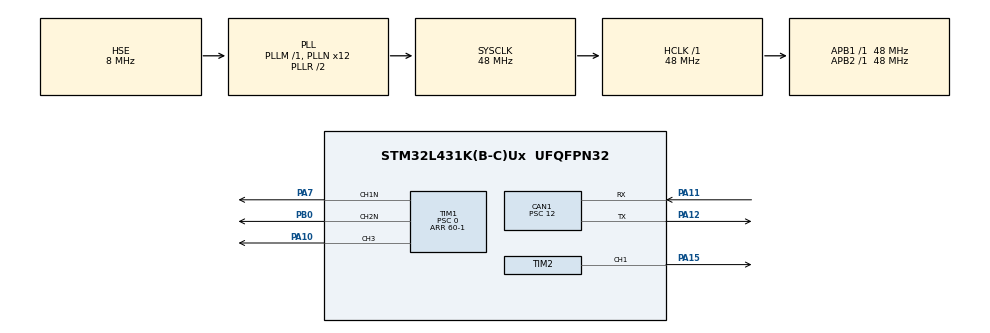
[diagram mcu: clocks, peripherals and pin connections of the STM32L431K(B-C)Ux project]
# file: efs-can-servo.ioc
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CAN1.BS1=CAN_BS1_2TQ
CAN1.CalculateBaudRate=1000000
CAN1.CalculateTimeBit=1000
CAN1.CalculateTimeQuantum=250.0
CAN1.Prescaler=12
Dma.Request0=TIM1_CH2
Dma.TIM1_CH2.0.Direction=DMA_MEMORY_TO_PERIPH
Dma.TIM1_CH2.0.Instance=DMA1_Channel3
Dma.TIM1_CH2.0.MemDataAlignment=DMA_MDATAALIGN_BYTE
Dma.TIM1_CH2.0.MemInc=DMA_MINC_ENABLE
Dma.TIM1_CH2.0.Mode=DMA_CIRCULAR
Dma.TIM1_CH2.0.PeriphDataAlignment=DMA_PDATAALIGN_WORD
Dma.TIM1_CH2.0.PeriphInc=DMA_PINC_DISABLE
Dma.TIM1_CH2.0.Priority=DMA_PRIORITY_HIGH
Mcu.Family=STM32L4
Mcu.Name=STM32L431K(B-C)Ux
Mcu.Package=UFQFPN32
NVIC.CAN1_RX0_IRQn=true\:0\:0\:false\:false\:true\:true\:true\:true
NVIC.DMA1_Channel3_IRQn=true\:0\:0\:false\:false\:true\:false\:true\:true
NVIC.PriorityGroup=NVIC_PRIORITYGROUP_4
PA0.Mode=HSE-External-Clock-Source-for-LittleOrca
PA0.Signal=RCC_CK_IN
PA10.Signal=S_TIM1_CH3
PA11.GPIO_PuPd=GPIO_PULLUP
PA11.Mode=CAN_Activate
PA11.Signal=CAN1_RX
PA12.Mode=CAN_Activate
PA12.Signal=CAN1_TX
PA13\ (JTMS-SWDIO).Mode=Trace_Asynchronous_SW
PA13\ (JTMS-SWDIO).Signal=SYS_JTMS-SWDIO
PA14\ (JTCK-SWCLK).Mode=Trace_Asynchronous_SW
PA14\ (JTCK-SWCLK).Signal=SYS_JTCK-SWCLK
PA15\ (JTDI).Signal=S_TIM2_CH1
PA7.Mode=PWM Generation1 CH1N
PA7.Signal=TIM1_CH1N
PB0.Mode=PWM Generation2 CH2N
PB0.Signal=TIM1_CH2N
PB3\ (JTDO-TRACESWO).Mode=Trace_Asynchronous_SW
PB3\ (JTDO-TRACESWO).Signal=SYS_JTDO-SWO
ProjectManager.HeapSize=0x200
ProjectManager.StackSize=0x400
ProjectManager.TargetToolchain=STM32CubeIDE
RCC.ADCFreq_Value=32000000
RCC.AHBFreq_Value=48000000
RCC.APB1Freq_Value=48000000
RCC.APB1TimFreq_Value=48000000
RCC.APB2Freq_Value=48000000
RCC.APB2TimFreq_Value=48000000
RCC.CortexFreq_Value=48000000
RCC.HCLKFreq_Value=48000000
RCC.HSE_VALUE=8000000
RCC.HSI48_VALUE=48000000
RCC.HSI_VALUE=16000000
RCC.LSE_VALUE=32768
RCC.MSIClockRange=RCC_MSIRANGE_11
RCC.MSI_VALUE=48000000
RCC.PLLN=12
RCC.PLLSourceVirtual=RCC_PLLSOURCE_HSE
RCC.SYSCLKFreq_VALUE=48000000
RCC.SYSCLKSource=RCC_SYSCLKSOURCE_PLLCLK
RCC.VCOOutputFreq_Value=96000000
SH.S_TIM1_CH3.0=TIM1_CH3,PWM Generation3 CH3
SH.S_TIM2_CH1.0=TIM2_CH1,PWM Generation1 CH1
TIM1.Channel-PWM\ Generation1\ CH1N=TIM_CHANNEL_1
TIM1.Channel-PWM\ Generation2\ CH2N=TIM_CHANNEL_2
TIM1.Channel-PWM\ Generation3\ CH3=TIM_CHANNEL_3
TIM1.Period=60-1
TIM1.Prescaler=0
TIM2.Channel-PWM\ Generation1\ CH1=TIM_CHANNEL_1
TIM2.Period=64000
TIM2.Prescaler=14
VP_TIM1_VS_ClockSourceINT.Mode=Internal
VP_TIM2_VS_ClockSourceINT.Mode=Internal
board=custom

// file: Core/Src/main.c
/* USER CODE BEGIN Header */
/**
  ******************************************************************************
  * @file           : main.c
  * @brief          : Main program body
  ******************************************************************************
  * @attention
  *
  * Copyright (c) 2024 STMicroelectronics.
  * All rights reserved.
  *
  * This software is licensed under terms that can be found in the LICENSE file
  * in the root directory of this software component.
  * If no LICENSE file comes with this software, it is provided AS-IS.
  *
  ******************************************************************************
  */
/* USER CODE END Header */
#include "main.h"
#include "can.h"
#include "tim.h"
#include "gpio.h"
#include "servo.h"

/* USER CODE BEGIN Includes */
#include <stdio.h>
#include <string.h>
#include <canard.h>
#include <_timespec.h>
#include <time.h>
#include "../dsdlc_generated/inc/dronecan_msgs.h"
#include <canard_stm32_driver.h>
#include "node_settings.h"
#include "canardRxQueue.h"

/* USER CODE END Includes */

/* USER CODE BEGIN PD */
#define CLOCK_MONOTONIC 1  // Define CLOCK_MONOTONIC for compatibility

/* USER CODE END PD */

// main.c
static volatile uint32_t g_rx_overflow_count = 0; // to track CAN RX overflow

/* USER CODE BEGIN PV */

CAN_FilterTypeDef canfil; //CAN Bus Filter, CHECK: Can maybe remove (from Hardy previous testing)

const int PWM_TRIM = 1500; // The trim value for the PWM signal
const float PWM_SCALE_FACTOR = 500.0; // Scale factor to map PWM to range -1 to 1
static CanardInstance canard;
static uint8_t memory_pool[2048]; // increased from 1024 to 2048

/* USER CODE END PV */

void SystemClock_Config(void);

/* USER CODE BEGIN 0 */

// NOT NEEDED FOR NOW
/*static const uint8_t SERVO_IDS[NUM_SERVOS] = {5, 6, 7, 8};

static struct servo_state {
    float position; // -1 to 1
    uint64_t last_update_us;
} servos[NUM_SERVOS];*/

static struct uavcan_protocol_NodeStatus node_status;

// Custom clock_gettime function for STM32
int clock_gettime(clockid_t clk_id, struct timespec *tp) {
    if (clk_id == CLOCK_MONOTONIC) {
        uint32_t millis = HAL_GetTick();  // Get the current tick in milliseconds
        tp->tv_sec = millis / 1000;       // Convert milliseconds to seconds
        tp->tv_nsec = (millis % 1000) * 1000000;  // Convert remaining milliseconds to nanoseconds
        return 0;  // Success
    }
    return -1;  // Unsupported clock ID
}

/*
  get a 16 byte unique ID for this node, this should be based on the CPU unique ID or other unique ID
 */
void getUniqueID(uint8_t id[16]){
	uint32_t HALUniqueIDs[3];
// Make Unique ID out of the 96-bit STM32 UID and fill the rest with 0s
	memset(id, 0, 16);
	HALUniqueIDs[0] = HAL_GetUIDw0();
	HALUniqueIDs[1] = HAL_GetUIDw1();
	HALUniqueIDs[2] = HAL_GetUIDw2();
	memcpy(id, HALUniqueIDs, 12);
}

void HAL_CAN_RxFifo0MsgPendingCallback(CAN_HandleTypeDef *hcan) {
	// Receiving

	while(HAL_CAN_GetRxFifoFillLevel(hcan, CAN_RX_FIFO0) > 0){ // make sure frames are not lost if multiple frames are in FIFO
		CanardCANFrame rx_frame;
		const int16_t rx_res = canardSTM32Recieve(hcan, CAN_RX_FIFO0, &rx_frame);

		if (rx_res < 0) {
				printf("Receive error %d\n", rx_res);
			}
			else if (rx_res > 0)        // Success - process the frame
			{
				enqueueRxReturnCode enqueueRxReturnCode = enqueueRxFrame(&rx_frame);

				if(enqueueRxReturnCode == RX_ENQUEUE_OVERFLOW){
					g_rx_overflow_count++;
					printf("RX Queue is full and over flow is: %d\n",g_rx_overflow); // track overflow
				}

				switch (enqueueRxReturnCode) {
					case RX_ENQUEUE_EMPTYITEM:
						printf("Rx frame is empty");
						break;
					case RX_ENQUEUE_MALLOCFAIL:
						printf("CanardRxQueueItem memory allocation failed");
						break;
					case RX_ENQUEUE_OVERFLOW:
						printf("rxQueue is full, oldest frame has been removed");
						break;
					case RX_ENQUEUE_SUCCESS:
						break;
				}
			}

	}

}

void processCanardRxQueue() {
	struct dequeueRxReturnItem dequeueRxReturnItem = dequeueRxFrame();
	const uint64_t timestamp = HAL_GetTick() * 1000ULL;

	if (dequeueRxReturnItem.isSuccess) {
		canardHandleRxFrame(&canard, &(dequeueRxReturnItem.frame), timestamp);
	}
}

// NOTE: All canard handlers and senders are based on this reference: https://dronecan.github.io/Specification/7._List_of_standard_data_types/
// Alternatively, you can look at the corresponding generated header file in the dsdlc_generated folder

// Canard Handlers ( Many have code copied from libcanard esc_node example: https://github.com/dronecan/libcanard/blob/master/examples/ESCNode/esc_node.c )

void handle_NodeStatus(CanardInstance *ins, CanardRxTransfer *transfer) {
	struct uavcan_protocol_NodeStatus nodeStatus;

	if (uavcan_protocol_NodeStatus_decode(transfer, &nodeStatus)) {
		return;
	}

	printf("Node health: %ud Node Mode: %ud\n", nodeStatus.health, nodeStatus.mode);

	printf("Node Health ");

	switch (nodeStatus.health) {
	case UAVCAN_PROTOCOL_NODESTATUS_HEALTH_OK:
		printf("OK\n");
		break;
	case UAVCAN_PROTOCOL_NODESTATUS_HEALTH_WARNING:
		printf("WARNING\n");
		break;
	case UAVCAN_PROTOCOL_NODESTATUS_HEALTH_ERROR:
		printf("ERROR\n");
		break;
	case UAVCAN_PROTOCOL_NODESTATUS_HEALTH_CRITICAL:
		printf("CRITICAL\n");
		break;
	default:
		printf("UNKNOWN?\n");
		break;
	}

	printf("Node Mode ");

	switch(nodeStatus.mode) {
	case UAVCAN_PROTOCOL_NODESTATUS_MODE_OPERATIONAL:
		printf("OPERATIONAL\n");
		break;
	case UAVCAN_PROTOCOL_NODESTATUS_MODE_INITIALIZATION:
		printf("INITIALIZATION\n");
		break;
	case UAVCAN_PROTOCOL_NODESTATUS_MODE_MAINTENANCE:
		printf("MAINTENANCE\n");
		break;
	case UAVCAN_PROTOCOL_NODESTATUS_MODE_SOFTWARE_UPDATE:
		printf("SOFTWARE UPDATE\n");
		break;
	case UAVCAN_PROTOCOL_NODESTATUS_MODE_OFFLINE:
		printf("OFFLINE\n");
		break;
	default:
		printf("UNKNOWN?\n");
		break;
	}
}

void handle_NotifyState(CanardInstance *ins, CanardRxTransfer *transfer) {
	struct ardupilot_indication_NotifyState notifyState;

	if (ardupilot_indication_NotifyState_decode(transfer, &notifyState)) {
		return;
	}

	uint32_t nl = notifyState.vehicle_state & 0xFFFFFFFF;  // ignoring the last 32 bits for printing since the highest vehicle_state value right now is 23 even though they're allowed to be up to 64bit unsigned integer

	printf("Vehicle State: %lu ", nl);

	if (notifyState.aux_data.len > 0) {
		printf("Aux Data: 0x");

		for (int i = 0; i < notifyState.aux_data.len; i++) {
			printf("%02x", notifyState.aux_data.data[i]);
		}
	}

	printf("\n");

}
/**
 * take actuator id from command, return the servo's index in the array
 */

// NOT NEEDED FOR NOW in servo.c
/*
static inline int check_actuator_id(uint8_t actuator_id){
  for(int i = 0; i < NUM_SERVOS; i ++){
    if (SERVO_IDS[i] == actuator_id){ // checks that the command actuator id means one of our servo
      return i;
    }
  }

  return -1;  // command actuator id is not in array
}*/

/*
 * handle a servo ArrayCommand request
 */
static void handle_ArrayCommand(CanardInstance *ins, CanardRxTransfer *transfer)
{
	printf("Entered Array Command\n");
    struct uavcan_equipment_actuator_ArrayCommand cmd;

    if (uavcan_equipment_actuator_ArrayCommand_decode(transfer, &cmd)) { //return true if decode is invalid
        return;
    }

    uint64_t tnow = HAL_GetTick() * 1000ULL;
    for (uint8_t i=0; i < cmd.commands.len; i++) {

    	uint8_t actuator_id = cmd.commands.data[i].actuator_id;

    	int idx = servo_index_from_id(actuator_id);   // from servo.c

    	if (idx < 0) {continue;}

    	switch (cmd.commands.data[i].command_type) {

    	case UAVCAN_EQUIPMENT_ACTUATOR_COMMAND_COMMAND_TYPE_UNITLESS:

    	    servo_write_unitless_idx(idx, cmd.commands.data[i].command_value);
    	    break;

    	case UAVCAN_EQUIPMENT_ACTUATOR_COMMAND_COMMAND_TYPE_PWM: {
    	    // value is pulse width in microseconds
    	    float us = cmd.commands.data[i].command_value;
    	    if (us < 500.f)  us = 500.f;
    	    if (us > 2500.f) us = 2500.f;
    	    servo_write_pwm_us_idx(idx, (uint16_t)us);
    	    break;
    	}
    	default:

    	    break;
    	}

    }
}

/*
  handle a GetNodeInfo request
*/
// TODO: All the data in here is temporary for testing. If actually need to send valid data, edit accordingly.
void handle_GetNodeInfo(CanardInstance *ins, CanardRxTransfer *transfer) {
	printf("GetNodeInfo request from %d\n", transfer->source_node_id);

	uint8_t buffer[UAVCAN_PROTOCOL_GETNODEINFO_RESPONSE_MAX_SIZE];
	struct uavcan_protocol_GetNodeInfoResponse pkt;

	memset(&pkt, 0, sizeof(pkt));

	node_status.uptime_sec = HAL_GetTick() / 1000ULL;
	pkt.status = node_status;

	// fill in your major and minor firmware version
	pkt.software_version.major = 1;
	pkt.software_version.minor = 0;
	pkt.software_version.optional_field_flags = 0;
	pkt.software_version.vcs_commit = 0; // should put git hash in here

	// should fill in hardware version
	pkt.hardware_version.major = 1;
	pkt.hardware_version.minor = 0;

	// just setting all 16 bytes to 1 for testing
	getUniqueID(pkt.hardware_version.unique_id);

	strncpy((char*)pkt.name.data, "SERVONode", sizeof(pkt.name.data));
	pkt.name.len = strnlen((char*)pkt.name.data, sizeof(pkt.name.data));

	uint16_t total_size = uavcan_protocol_GetNodeInfoResponse_encode(&pkt, buffer);

	canardRequestOrRespond(ins,
						   transfer->source_node_id,
						   UAVCAN_PROTOCOL_GETNODEINFO_SIGNATURE,
						   UAVCAN_PROTOCOL_GETNODEINFO_ID,
						   &transfer->transfer_id,
						   transfer->priority,
						   CanardResponse,
						   &buffer[0],
						   total_size);
}

// Canard Senders

/*
  send the 1Hz NodeStatus message. This is what allows a node to show
  up in the DroneCAN GUI tool and in the flight controller logs
 */
void send_NodeStatus(void) {
    uint8_t buffer[UAVCAN_PROTOCOL_GETNODEINFO_RESPONSE_MAX_SIZE];

    node_status.uptime_sec = HAL_GetTick() / 1000UL;
    node_status.health = UAVCAN_PROTOCOL_NODESTATUS_HEALTH_OK;
    node_status.mode = UAVCAN_PROTOCOL_NODESTATUS_MODE_OPERATIONAL;
    node_status.sub_mode = 0;

    // put whatever you like in here for display in GUI
    node_status.vendor_specific_status_code = 1234;

    uint32_t len = uavcan_protocol_NodeStatus_encode(&node_status, buffer);

    // we need a static variable for the transfer ID. This is
    // incremeneted on each transfer, allowing for detection of packet
    // loss
    static uint8_t transfer_id;

    canardBroadcast(&canard,
                    UAVCAN_PROTOCOL_NODESTATUS_SIGNATURE,
                    UAVCAN_PROTOCOL_NODESTATUS_ID,
                    &transfer_id,
                    CANARD_TRANSFER_PRIORITY_LOW,
                    buffer,
                    len);
}

// Canard Util

bool shouldAcceptTransfer(const CanardInstance *ins,
                                 uint64_t *out_data_type_signature,
                                 uint16_t data_type_id,
                                 CanardTransferType transfer_type,
                                 uint8_t source_node_id)
{
	if (transfer_type == CanardTransferTypeRequest) {
	// check if we want to handle a specific service request
		switch (data_type_id) {
		case UAVCAN_PROTOCOL_GETNODEINFO_ID: {
			*out_data_type_signature = UAVCAN_PROTOCOL_GETNODEINFO_REQUEST_SIGNATURE;
			return true;
		}
		}
	}
	if (transfer_type == CanardTransferTypeResponse) {
		// check if we want to handle a specific service request
		switch (data_type_id) {
		}
	}
	if (transfer_type == CanardTransferTypeBroadcast) {
		// see if we want to handle a specific broadcast packet
		switch (data_type_id) {
		case UAVCAN_EQUIPMENT_ACTUATOR_ARRAYCOMMAND_ID: {
			*out_data_type_signature = UAVCAN_EQUIPMENT_ACTUATOR_ARRAYCOMMAND_SIGNATURE; //Change this
			return true;
		}
		case UAVCAN_PROTOCOL_NODESTATUS_ID: {
			*out_data_type_signature = UAVCAN_PROTOCOL_NODESTATUS_SIGNATURE;
			return true;
		}
		case ARDUPILOT_INDICATION_NOTIFYSTATE_ID: {
			*out_data_type_signature = ARDUPILOT_INDICATION_NOTIFYSTATE_SIGNATURE;
			return true;
		}
		}
	}
	// we don't want any other messages
	return false;
}

void onTransferReceived(CanardInstance *ins, CanardRxTransfer *transfer) {
	// switch on data type ID to pass to the right handler function
//	printf("Transfer type: %du, Transfer ID: %du \n", transfer->transfer_type, transfer->data_type_id);
//	printf("0x");
//		for (int i = 0; i < transfer->payload_len; i++) {
//			printf("%02x", transfer->payload_head[i]);
//		}
//
//		printf("\n");
	if (transfer->transfer_type == CanardTransferTypeRequest) {
		// check if we want to handle a specific service request
		switch (transfer->data_type_id) {
		case UAVCAN_PROTOCOL_GETNODEINFO_ID: {
			handle_GetNodeInfo(ins, transfer);
			break;
		}
		}
	}
	if (transfer->transfer_type == CanardTransferTypeResponse) {
		switch (transfer->data_type_id) {
		}
	}
	if (transfer->transfer_type == CanardTransferTypeBroadcast) {
		// check if we want to handle a specific broadcast message
		switch (transfer->data_type_id) {
		case UAVCAN_EQUIPMENT_ACTUATOR_ARRAYCOMMAND_ID:{
			handle_ArrayCommand(ins, transfer);
			break;
		}
		case UAVCAN_PROTOCOL_NODESTATUS_ID: {
			handle_NodeStatus(ins, transfer);
			break;
		}
		case ARDUPILOT_INDICATION_NOTIFYSTATE_ID: {
			handle_NotifyState(ins, transfer);
			break;
		}
		}
	}
}

void processCanardTxQueue(CAN_HandleTypeDef *hcan) {
	// Transmitting

	for (const CanardCANFrame *tx_frame ; (tx_frame = canardPeekTxQueue(&canard)) != NULL;) {
		const int16_t tx_res = canardSTM32Transmit(hcan, tx_frame);

		if (tx_res < 0) {
			printf("Transmit error %d\n", tx_res);
		} else if (tx_res > 0) {
			printf("Successfully transmitted message\n");
		}

		// Pop canardTxQueue either way
		canardPopTxQueue(&canard);
	}
}

/*
  This function is called at 1 Hz rate from the main loop.
*/
void process1HzTasks(uint64_t timestamp_usec) {
    /*
      Purge transfers that are no longer transmitted. This can free up some memory
    */
    canardCleanupStaleTransfers(&canard, timestamp_usec);

    /*
      Transmit the node status message
    */
    send_NodeStatus();
}

/*
  send servo status at 50Hz
*/
static void send_ServoStatus(void)
{
    for (uint8_t i = 0; i < NUM_SERVOS; i++) {
        uint8_t actuator_id;
        float unitless;
        if (!servo_status_get_by_index(i, &actuator_id, &unitless)) break; // error check

        struct uavcan_equipment_actuator_Status pkt;
        memset(&pkt, 0, sizeof(pkt));
        uint8_t buffer[UAVCAN_EQUIPMENT_ACTUATOR_STATUS_MAX_SIZE];

        pkt.actuator_id = actuator_id;
        pkt.position    = unitless;   // what we last applied (-1..+1)
        pkt.force = 0;
        pkt.speed = 0;
        pkt.power_rating_pct = 0;

        uint32_t len = uavcan_equipment_actuator_Status_encode(&pkt, buffer);
        static uint8_t transfer_id;
        canardBroadcast(&canard,
                        UAVCAN_EQUIPMENT_ACTUATOR_STATUS_SIGNATURE,
                        UAVCAN_EQUIPMENT_ACTUATOR_STATUS_ID,
                        &transfer_id,
                        CANARD_TRANSFER_PRIORITY_LOW,
                        buffer,
                        len);
    }
}

/* USER CODE END 0 */

int main(void)
{

  /* MCU Configuration--------------------------------------------------------*/

  /* Reset of all peripherals, Initializes the Flash interface and the Systick. */
  HAL_Init();

  /* Configure the system clock */
  SystemClock_Config();

  /* Initialize all configured peripherals */
  MX_GPIO_Init();
  MX_CAN1_Init();
  MX_TIM1_Init();
  MX_TIM2_Init();

  servo_init_and_start();
  /* USER CODE BEGIN 2 */

	//CHECK: can maybe remove (prev code from Hardy Testing)
	canfil.FilterBank = 0;
	canfil.FilterMode = CAN_FILTERMODE_IDMASK;
	canfil.FilterFIFOAssignment = CAN_RX_FIFO0;
	canfil.FilterIdHigh = 0;
	canfil.FilterIdLow = 0;
	canfil.FilterMaskIdHigh = 0;
	canfil.FilterMaskIdLow = 0;
	canfil.FilterScale = CAN_FILTERSCALE_32BIT;
	canfil.FilterActivation = ENABLE;
	canfil.SlaveStartFilterBank = 14;

	HAL_CAN_ConfigFilter(&hcan1,&canfil);
  	HAL_CAN_Start(&hcan1);
  	HAL_CAN_ActivateNotification(&hcan1, CAN_IT_RX_FIFO0_MSG_PENDING);

	canardInit(&canard,
			  	  memory_pool,
				  sizeof(memory_pool),
				  onTransferReceived,
				  shouldAcceptTransfer,
				  NULL);

	uint64_t next_1hz_service_at = HAL_GetTick();
	uint64_t next_50hz_service_at = HAL_GetTick();
  /* USER CODE END 2 */

  /* Infinite loop */
  while (1)
  {

    /* USER CODE BEGIN 3 */

	  processCanardTxQueue(&hcan1);

 	  processCanardRxQueue();

	  const uint64_t ts = HAL_GetTick();

	  if (ts >= next_1hz_service_at){
		  next_1hz_service_at += 1000ULL;
		  process1HzTasks(ts);
	  }
	  if (ts >= next_50hz_service_at){
		  next_50hz_service_at += 1000ULL/50U;
		  send_ServoStatus();
	  }

	  servo_tick_fail_safe(HAL_GetTick()); // fail safe check (check if it needs to be converted to microseconds)

  }
  /* USER CODE END 3 */
}

void SystemClock_Config(void)
{
  RCC_OscInitTypeDef RCC_OscInitStruct = {0};
  RCC_ClkInitTypeDef RCC_ClkInitStruct = {0};

  /** Configure the main internal regulator output voltage
  */
  if (HAL_PWREx_ControlVoltageScaling(PWR_REGULATOR_VOLTAGE_SCALE1) != HAL_OK)
  {
    Error_Handler();
  }

  /** Initializes the RCC Oscillators according to the specified parameters
  * in the RCC_OscInitTypeDef structure.
  */
  RCC_OscInitStruct.OscillatorType = RCC_OSCILLATORTYPE_HSE;
  RCC_OscInitStruct.HSEState = RCC_HSE_BYPASS;
  RCC_OscInitStruct.PLL.PLLState = RCC_PLL_ON;
  RCC_OscInitStruct.PLL.PLLSource = RCC_PLLSOURCE_HSE;
  RCC_OscInitStruct.PLL.PLLM = 1;
  RCC_OscInitStruct.PLL.PLLN = 12;
  RCC_OscInitStruct.PLL.PLLP = RCC_PLLP_DIV7;
  RCC_OscInitStruct.PLL.PLLQ = RCC_PLLQ_DIV2;
  RCC_OscInitStruct.PLL.PLLR = RCC_PLLR_DIV2;
  if (HAL_RCC_OscConfig(&RCC_OscInitStruct) != HAL_OK)
  {
    Error_Handler();
  }

  /** Initializes the CPU, AHB and APB buses clocks
  */
  RCC_ClkInitStruct.ClockType = RCC_CLOCKTYPE_HCLK|RCC_CLOCKTYPE_SYSCLK
                              |RCC_CLOCKTYPE_PCLK1|RCC_CLOCKTYPE_PCLK2;
  RCC_ClkInitStruct.SYSCLKSource = RCC_SYSCLKSOURCE_PLLCLK;
  RCC_ClkInitStruct.AHBCLKDivider = RCC_SYSCLK_DIV1;
  RCC_ClkInitStruct.APB1CLKDivider = RCC_HCLK_DIV1;
  RCC_ClkInitStruct.APB2CLKDivider = RCC_HCLK_DIV1;

  if (HAL_RCC_ClockConfig(&RCC_ClkInitStruct, FLASH_LATENCY_2) != HAL_OK)
  {
    Error_Handler();
  }
}

/* USER CODE BEGIN 4 */
int __io_putchar(int ch) {
	ITM_SendChar(ch);
	return ch;
}
/* USER CODE END 4 */

void Error_Handler(void)
{
  __disable_irq();
  while (1)
  {
  }
}
